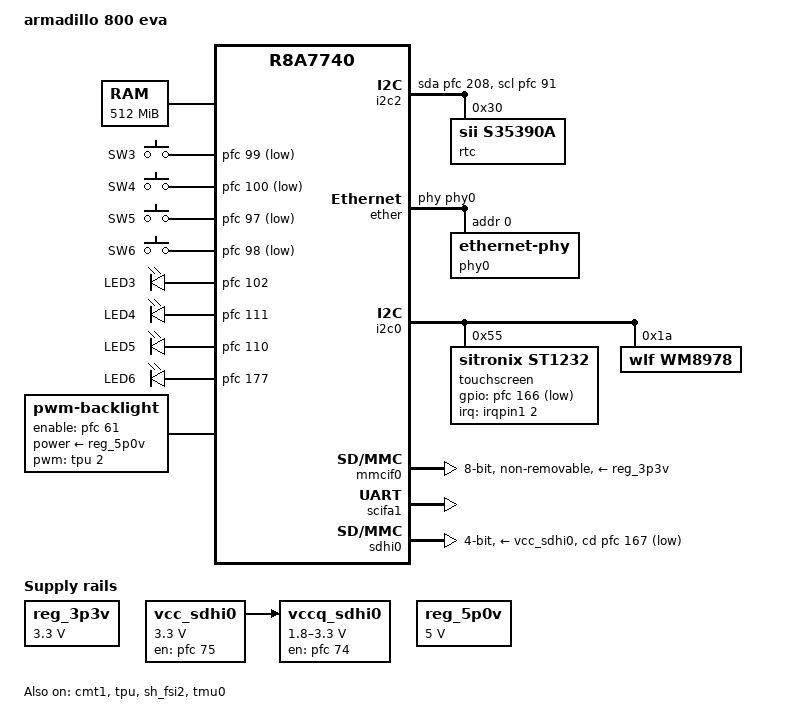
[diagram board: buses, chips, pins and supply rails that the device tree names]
/*
 * Device Tree Source for the armadillo 800 eva board
 *
 * Copyright (C) 2012 Renesas Solutions Corp.
 *
 * This file is licensed under the terms of the GNU General Public License
 * version 2.  This program is licensed "as is" without any warranty of any
 * kind, whether express or implied.
 */

/dts-v1/;
#include "r8a7740.dtsi"
#include <dt-bindings/gpio/gpio.h>
#include <dt-bindings/input/input.h>
#include <dt-bindings/interrupt-controller/irq.h>
#include <dt-bindings/pwm/pwm.h>

/ {
	model = "armadillo 800 eva";
	compatible = "renesas,armadillo800eva", "renesas,r8a7740";

	aliases {
		serial1 = &scifa1;
	};

	chosen {
		bootargs = "console=tty0 console=ttySC1,115200 earlyprintk=sh-sci.1,115200 ignore_loglevel root=/dev/nfs ip=dhcp rw";
		stdout-path = &scifa1;
	};

	memory {
		device_type = "memory";
		reg = <0x40000000 0x20000000>;
	};

	reg_3p3v: regulator@0 {
		compatible = "regulator-fixed";
		regulator-name = "fixed-3.3V";
		regulator-min-microvolt = <3300000>;
		regulator-max-microvolt = <3300000>;
		regulator-always-on;
		regulator-boot-on;
	};

	vcc_sdhi0: regulator@1 {
		compatible = "regulator-fixed";

		regulator-name = "SDHI0 Vcc";
		regulator-min-microvolt = <3300000>;
		regulator-max-microvolt = <3300000>;

		gpio = <&pfc 75 GPIO_ACTIVE_HIGH>;
		enable-active-high;
	};

	vccq_sdhi0: regulator@2 {
		compatible = "regulator-gpio";

		regulator-name = "SDHI0 VccQ";
		regulator-min-microvolt = <1800000>;
		regulator-max-microvolt = <3300000>;
		vin-supply = <&vcc_sdhi0>;

		enable-gpio = <&pfc 74 GPIO_ACTIVE_HIGH>;
		gpios = <&pfc 17 GPIO_ACTIVE_HIGH>;
		states = <3300000 0
			  1800000 1>;

		enable-active-high;
	};

	reg_5p0v: regulator@3 {
		compatible = "regulator-fixed";
		regulator-name = "fixed-5.0V";
		regulator-min-microvolt = <5000000>;
		regulator-max-microvolt = <5000000>;
		regulator-always-on;
		regulator-boot-on;
	};

	keyboard {
		compatible = "gpio-keys";

		power-key {
			gpios = <&pfc 99 GPIO_ACTIVE_LOW>;
			linux,code = <KEY_POWER>;
			label = "SW3";
			gpio-key,wakeup;
		};

		back-key {
			gpios = <&pfc 100 GPIO_ACTIVE_LOW>;
			linux,code = <KEY_BACK>;
			label = "SW4";
		};

		menu-key {
			gpios = <&pfc 97 GPIO_ACTIVE_LOW>;
			linux,code = <KEY_MENU>;
			label = "SW5";
		};

		home-key {
			gpios = <&pfc 98 GPIO_ACTIVE_LOW>;
			linux,code = <KEY_HOME>;
			label = "SW6";
		};
	};

	leds {
		compatible = "gpio-leds";
		led3 {
			gpios = <&pfc 102 GPIO_ACTIVE_HIGH>;
			label = "LED3";
		};
		led4 {
			gpios = <&pfc 111 GPIO_ACTIVE_HIGH>;
			label = "LED4";
		};
		led5 {
			gpios = <&pfc 110 GPIO_ACTIVE_HIGH>;
			label = "LED5";
		};
		led6 {
			gpios = <&pfc 177 GPIO_ACTIVE_HIGH>;
			label = "LED6";
		};
	};

	i2c2: i2c@2 {
		#address-cells = <1>;
		#size-cells = <0>;
		compatible = "i2c-gpio";
		gpios = <&pfc 208 GPIO_ACTIVE_HIGH /* sda */
			 &pfc 91 GPIO_ACTIVE_HIGH /* scl */
			>;
		i2c-gpio,delay-us = <5>;
	};

	backlight {
		compatible = "pwm-backlight";
		pwms = <&tpu 2 33333 PWM_POLARITY_INVERTED>;
		brightness-levels = <0 1 2 4 8 16 32 64 128 255>;
		default-brightness-level = <9>;
		pinctrl-0 = <&backlight_pins>;
		pinctrl-names = "default";
		power-supply = <&reg_5p0v>;
		enable-gpios = <&pfc 61 GPIO_ACTIVE_HIGH>;
	};

	sound {
		compatible = "simple-audio-card";

		simple-audio-card,format = "i2s";

		simple-audio-card,cpu {
			sound-dai = <&sh_fsi2 0>;
			bitclock-inversion;
		};

		simple-audio-card,codec {
			sound-dai = <&wm8978>;
			bitclock-master;
			frame-master;
			system-clock-frequency = <12288000>;
		};
	};
};

&ether {
	pinctrl-0 = <&ether_pins>;
	pinctrl-names = "default";

	phy-handle = <&phy0>;
	status = "ok";

	phy0: ethernet-phy@0 {
		reg = <0>;
	};
};

&extal1_clk {
	clock-frequency = <25000000>;
};
&extal2_clk {
	clock-frequency = <48000000>;
};
&fsibck_clk {
	clock-frequency = <12288000>;
};
&cpg_clocks {
	renesas,mode = <0x05>; /* MD_CK0 | MD_CK2 */
};

&cmt1 {
	status = "ok";
};

&i2c0 {
	status = "okay";
	touchscreen@55 {
		compatible = "sitronix,st1232";
		reg = <0x55>;
		interrupt-parent = <&irqpin1>;
		interrupts = <2 IRQ_TYPE_LEVEL_LOW>;
		pinctrl-0 = <&st1232_pins>;
		pinctrl-names = "default";
		gpios = <&pfc 166 GPIO_ACTIVE_LOW>;
	};

	wm8978: wm8978@1a {
		#sound-dai-cells = <0>;
		compatible = "wlf,wm8978";
		reg = <0x1a>;
	};
};

&i2c2 {
	status = "okay";
	rtc@30 {
		compatible = "sii,s35390a";
		reg = <0x30>;
	};
};

&pfc {
	ether_pins: ether {
		renesas,groups = "gether_mii", "gether_int";
		renesas,function = "gether";
	};

	scifa1_pins: serial1 {
		renesas,groups = "scifa1_data";
		renesas,function = "scifa1";
	};

	st1232_pins: touchscreen {
		renesas,groups = "intc_irq10";
		renesas,function = "intc";
	};

	backlight_pins: backlight {
		renesas,groups = "tpu0_to2_1";
		renesas,function = "tpu0";
	};

	mmc0_pins: mmc0 {
		renesas,groups = "mmc0_data8_1", "mmc0_ctrl_1";
		renesas,function = "mmc0";
	};

	sdhi0_pins: sd0 {
		renesas,groups = "sdhi0_data4", "sdhi0_ctrl", "sdhi0_wp";
		renesas,function = "sdhi0";
	};

	fsia_pins: sounda {
		renesas,groups = "fsia_sclk_in", "fsia_mclk_out",
				 "fsia_data_in_1", "fsia_data_out_0";
		renesas,function = "fsia";
	};
};

&tpu {
	status = "okay";
};

&mmcif0 {
	pinctrl-0 = <&mmc0_pins>;
	pinctrl-names = "default";

	vmmc-supply = <&reg_3p3v>;
	bus-width = <8>;
	non-removable;
	status = "okay";
};

&scifa1 {
	pinctrl-0 = <&scifa1_pins>;
	pinctrl-names = "default";

	status = "okay";
};

&sdhi0 {
	pinctrl-0 = <&sdhi0_pins>;
	pinctrl-names = "default";

	vmmc-supply = <&vcc_sdhi0>;
	vqmmc-supply = <&vccq_sdhi0>;
	bus-width = <4>;
	cd-gpios = <&pfc 167 GPIO_ACTIVE_LOW>;
	status = "okay";
};

&sh_fsi2 {
	pinctrl-0 = <&fsia_pins>;
	pinctrl-names = "default";

	status = "okay";
};

&tmu0 {
	status = "okay";
};
